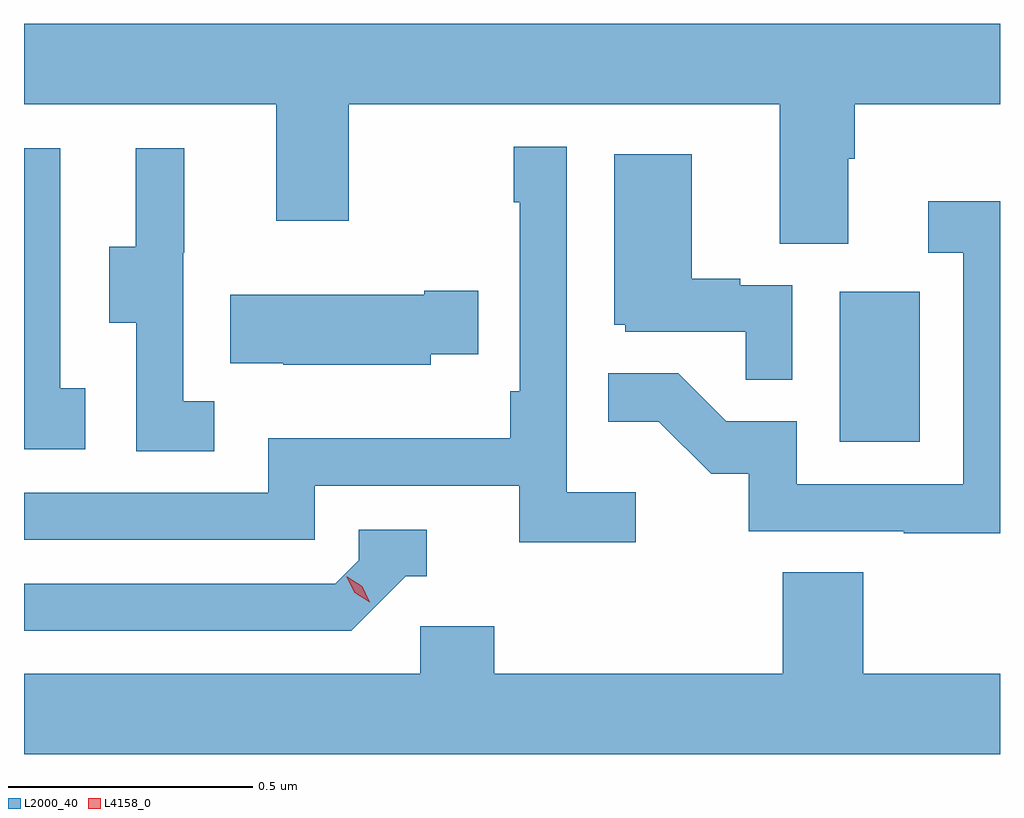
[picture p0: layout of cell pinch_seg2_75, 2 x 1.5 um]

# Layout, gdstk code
import gdstk
lib = gdstk.Library(unit=1e-6, precision=1e-09)
def R(c, l, rs):  # rectangles x0, y0, x1, y1
    for r in rs: c.add(gdstk.rectangle(r[:2], r[2:], *l))
def P(c, l, *ps):  # polygons
    for p in ps: c.add(gdstk.Polygon(p, *l))
L2000_40 = (2000, 40)
L4158_0 = (4158, 0)

pinch_seg2_75 = lib.new_cell('pinch_seg2_75')
R(pinch_seg2_75, L2000_40, [(1020.506,650.94,1020.67,651.247)])
P(pinch_seg2_75, L2000_40, [(1020.523,651.52),(1020.536,651.52),(1020.536,651.632),(1020.834,651.632),(1020.834,651.796),(1018.834,651.796),(1018.834,651.632),(1019.351,651.632),(1019.351,651.393),(1019.499,651.393),(1019.499,651.632),(1020.383,651.632),(1020.383,651.346),(1020.523,651.346)],
  [(1020.088,650.836),(1019.946,650.836),(1019.946,651.544),(1019.838,651.544),(1019.838,651.431),(1019.85,651.431),(1019.85,651.043),(1019.83,651.043),(1019.83,650.947),(1019.334,650.947),(1019.334,650.835),(1018.834,650.835),(1018.834,650.739),(1019.43,650.739),(1019.43,650.85),(1019.849,650.85),(1019.849,650.734),(1020.088,650.734)],
  [(1018.96,651.05),(1018.908,651.05),(1018.908,651.541),(1018.834,651.541),(1018.834,650.925),(1018.96,650.925)],
  [(1019.224,651.023),(1019.16,651.023),(1019.16,651.327),(1019.162,651.327),(1019.162,651.541),(1019.063,651.541),(1019.063,651.339),(1019.009,651.339),(1019.009,651.184),(1019.064,651.184),(1019.064,650.92),(1019.224,650.92)],
  [(1020.408,651.261),(1020.302,651.261),(1020.302,651.274),(1020.202,651.274),(1020.202,651.529),(1020.044,651.529),(1020.044,651.18),(1020.066,651.18),(1020.066,651.165),(1020.313,651.165),(1020.313,651.067),(1020.408,651.067)],
  [(1020.834,651.433),(1020.687,651.433),(1020.687,651.327),(1020.759,651.327),(1020.759,650.853),(1020.417,650.853),(1020.417,650.982),(1020.273,650.982),(1020.175,651.08),(1020.031,651.08),(1020.031,650.981),(1020.135,650.981),(1020.242,650.874),(1020.319,650.874),(1020.319,650.757),(1020.637,650.757),(1020.637,650.752),(1020.834,650.752)],
  [(1019.667,651.119),(1019.765,651.119),(1019.765,651.249),(1019.654,651.249),(1019.654,651.241),(1019.257,651.241),(1019.257,651.101),(1019.365,651.101),(1019.365,651.098),(1019.667,651.098)],
  [(1019.616,650.664),(1019.659,650.664),(1019.659,650.76),(1019.52,650.76),(1019.52,650.697),(1019.472,650.649),(1018.834,650.649),(1018.834,650.553),(1019.505,650.553)],
  [(1020.834,650.464),(1020.554,650.464),(1020.554,650.672),(1020.389,650.672),(1020.389,650.464),(1019.798,650.464),(1019.798,650.562),(1019.646,650.562),(1019.646,650.464),(1018.834,650.464),(1018.834,650.3),(1020.834,650.3)])
P(pinch_seg2_75, L4158_0, [(1019.543,650.611),(1019.512,650.63),(1019.495,650.662),(1019.495,650.663),(1019.496,650.663),(1019.527,650.644),(1019.543,650.611),(1019.543,650.611)])

lib.write_gds('pinch_seg2_75.gds')
